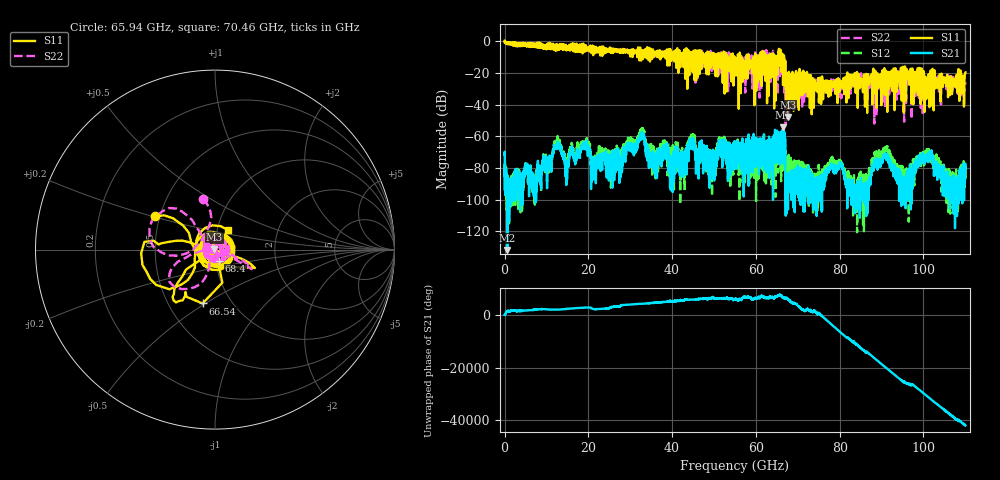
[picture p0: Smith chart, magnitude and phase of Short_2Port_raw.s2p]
#  HZ  S  RI  R  50.00
! Rohde & Schwarz ZVA67 4Ports - Version 4.11 - 1305.7002k04 SN: 101032
! Date: 2026-02-18 15:43:15
! Measurements: S11 S21 S12 S22
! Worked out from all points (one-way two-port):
!   5500 points, 20 MHz to 110 GHz, reference 50 ohm
!   highest |S21| = -54.29 dB at 66.54 GHz (marker M1); lowest = -131.8 dB at 680 MHz (marker M2)
!   lowest |S11| = -47.7 dB at 67.62 GHz (marker M3), VSWR 1.01, Z = 49.6 + j0.145 ohm
!   |S11| at or under -10 dB: 56.59 GHz to 57.73 GHz (1.138 GHz wide, 1.99 % of centre); 58.34 GHz to 59.4 GHz (1.057 GHz wide, 1.8 % of centre); 66.76 GHz to end of sweep (the widest 3 of 73)
!   |S22| runs from -51.9 to 0.2 dB; largest |S21 - S12| = 0.0031
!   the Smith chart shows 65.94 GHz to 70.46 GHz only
!   S11 on the Smith chart (normalised r, x): 65.94 GHz: 0.47, +0.20; 66.54 GHz: 0.73, -0.49; 68.4 GHz: 1.04, -0.13; 70.46 GHz: 1.12, +0.25
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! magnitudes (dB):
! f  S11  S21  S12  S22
! 20 MHz  -0.5  -71.6  -77.5  -0.7
! 680 MHz  -1.7  -131.8  -107.9  -1.8
! 18.36 GHz  -2.6  -68.0  -65.0  -3.9
! 25.76 GHz  -6.3  -74.3  -69.4  -5.7
! 32.84 GHz  -5.6  -57.5  -55.1  -9.5
! 36.68 GHz  -7.6  -71.1  -73.3  -9.0
! 42.94 GHz  -5.3  -72.2  -83.8  -12.6
! 44.88 GHz  -19.4  -61.2  -59.4  -7.3
! 48.52 GHz  -6.8  -76.3  -69.8  -15.7
! 52.04 GHz  -18.0  -64.2  -62.8  -15.9
! 53.54 GHz  -11.7  -67.7  -73.2  -7.0
! 55.02 GHz  -17.6  -64.0  -69.1  -19.6
! 65.94 GHz  -8.3  -57.4  -68.3  -10.8
! 66.54 GHz  -10.2  -54.3  -69.2  -19.5
! 67.62 GHz  -47.7  -91.4  -75.2  -27.3
! 68.4 GHz  -23.5  -87.5  -87.0  -40.5
! 70.46 GHz  -17.7  -85.6  -79.8  -25.6
! 73.34 GHz  -46.1  -86.5  -92.5  -30.8
! 91.68 GHz  -23.3  -74.8  -70.5  -21.4
! 94.18 GHz  -19.9  -100.9  -78.1  -21.0
! 101 GHz  -30.3  -74.6  -69.0  -23.1
! 110 GHz  -19.6  -77.4  -79.4  -25.7
